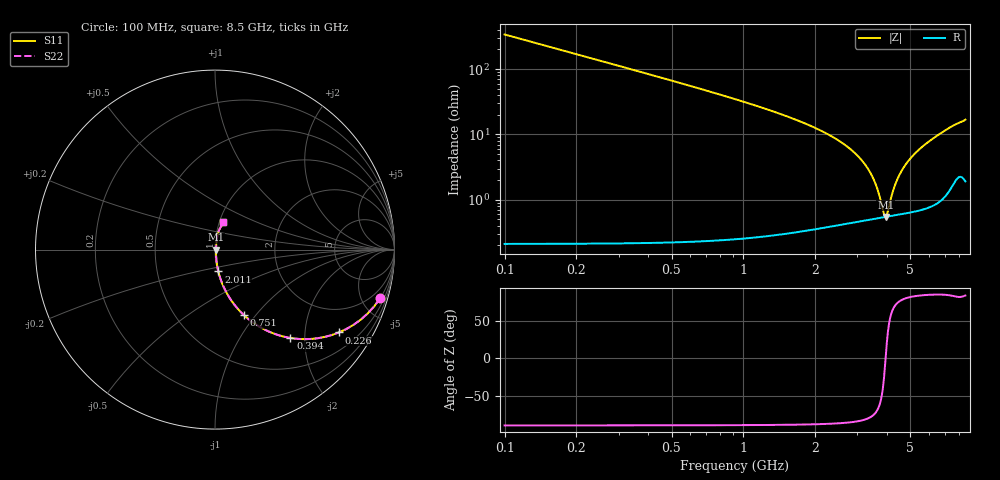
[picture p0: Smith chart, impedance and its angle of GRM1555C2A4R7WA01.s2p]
!Murata Part Number: GRM1555C2A4R7WA01
!These Parameters are Measured in Series Mode Connection
!Data Generated on Mar 30, 2021
!  o--ll--o
!Port1  Port2
!  o------o
!Operation Temp=25[degC], DC Bias Voltage=0[V]
!Freq. Start=100[MHz] Stop=9[GHz] 401[Steps]
# Hz S RI R 50
!Freq.(Hz) S11(Real) S11(Imag) S21(Real) S21(Imag) S12(Real) S12(Imag) S22(Real) S22(Imag)
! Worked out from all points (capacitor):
!   401 points, 100 MHz to 8.5 GHz, reference 50 ohm
!   read as one part in series: C = 4.7 pF near 142 MHz
!   lowest |Z| = 544 mohm at 3.943 GHz (marker M1)
!   series resonance near 3.939 GHz, so ESL is about 350 pH
!   S11 on the Smith chart (normalised r, x): 100 MHz: 1.00, -6.77; 226 MHz: 1.00, -2.99; 394 MHz: 1.00, -1.70; 751 MHz: 1.00, -0.87; 2.011 GHz: 1.01, -0.25; 8.5 GHz: 1.04, +0.33
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1e8  0.9195 -0.2717  0.0805 0.2717  0.0805 0.2717  0.9195 -0.2717
2.26e8  0.6901 -0.4617  0.3099 0.4617  0.3099 0.4617  0.6901 -0.4617
3.94e8  0.42 -0.4923  0.58 0.4923  0.58 0.4923  0.42 -0.4923
5.62e8  0.259 -0.4362  0.741 0.4362  0.741 0.4362  0.259 -0.4362
7.51e8  0.16 -0.3639  0.84 0.3639  0.84 0.3639  0.16 -0.3639
1.066e9  0.0816 -0.2693  0.9184 0.2693  0.9184 0.2693  0.0816 -0.2693
1.507e9  0.038 -0.1835  0.962 0.1835  0.962 0.1835  0.038 -0.1835
2.011e9  0.0185 -0.1214  0.9815 0.1214  0.9815 0.1214  0.0185 -0.1214
2.914e9  0.00719 -0.0519  0.9928 0.0519  0.9928 0.0519  0.00719 -0.0519
3.229e9  0.00594 -0.034  0.9941 0.034  0.9941 0.034  0.00594 -0.034
3.481e9  0.00546 -0.0211  0.9945 0.0211  0.9945 0.0211  0.00546 -0.0211
3.67e9  0.00532 -0.0121  0.9947 0.0121  0.9947 0.0121  0.00532 -0.0121
3.88e9  0.00536 -0.00256  0.9946 0.00256  0.9946 0.00256  0.00536 -0.00256
3.943e9  0.00541 0.000188  0.9946 -0.000188  0.9946 -0.000188  0.00541 0.000188
4.006e9  0.00547 0.0029  0.9945 -0.0029  0.9945 -0.0029  0.00547 0.0029
4.174e9  0.00571 0.00995  0.9943 -0.00995  0.9943 -0.00995  0.00571 0.00995
4.3e9  0.00594 0.0151  0.9941 -0.0151  0.9941 -0.0151  0.00594 0.0151
4.531e9  0.0065 0.0242  0.9935 -0.0242  0.9935 -0.0242  0.0065 0.0242
4.825e9  0.00742 0.0353  0.9926 -0.0353  0.9926 -0.0353  0.00742 0.0353
5.707e9  0.0116 0.0665  0.9884 -0.0665  0.9884 -0.0665  0.0116 0.0665
7.114e9  0.0255 0.1147  0.9745 -0.1147  0.9745 -0.1147  0.0255 0.1147
8.5e9  0.0443 0.1564  0.9557 -0.1564  0.9557 -0.1564  0.0443 0.1564
